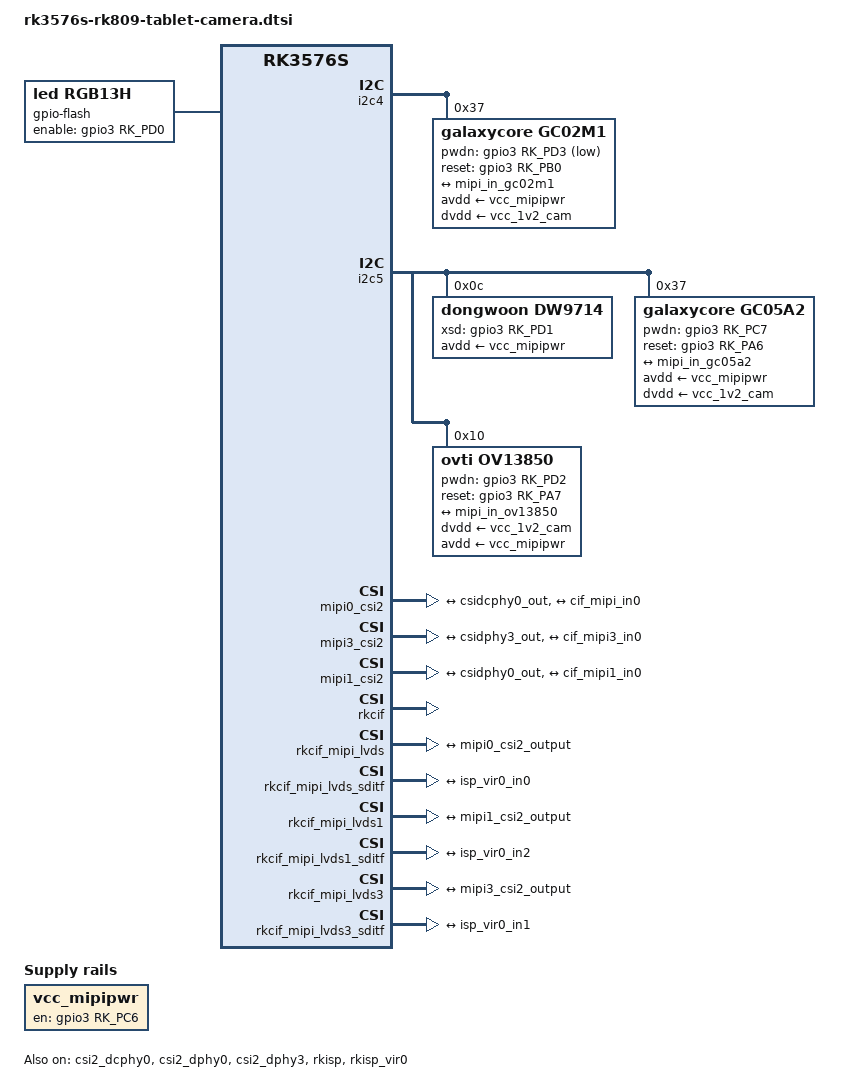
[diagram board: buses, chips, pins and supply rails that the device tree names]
// SPDX-License-Identifier: (GPL-2.0+ OR MIT)
/*
 * Copyright (c) 2024 Rockchip Electronics Co., Ltd.
 *
 */
/ {
	flash_rgb13h: flash-rgb13h {
		status = "okay";
		compatible = "led,rgb13h";
		label = "gpio-flash";
		pinctrl-names = "default";
		pinctrl-0 = <&flash_led_gpios>;
		led-max-microamp = <20000>;
		flash-max-microamp = <20000>;
		flash-max-timeout-us = <1000000>;
		enable-gpio = <&gpio3 RK_PD0 GPIO_ACTIVE_HIGH>;
		//mode-gpio = <&gpio2 RK_PC3 GPIO_ACTIVE_HIGH>; //EN
		rockchip,camera-module-index = <0>;
		rockchip,camera-module-facing = "back";
	};

	vcc_mipipwr: vcc-mipipwr-regulator {
		compatible = "regulator-fixed";
		gpio = <&gpio3 RK_PC6 GPIO_ACTIVE_HIGH>;
		pinctrl-names = "default";
		pinctrl-0 = <&mipicam_pwr>;
		regulator-name = "vcc_mipipwr";
		enable-active-high;
		regulator-boot-on;
	};
};

&csi2_dcphy0 {
	status = "okay";

	ports {
		#address-cells = <1>;
		#size-cells = <0>;
		port@0 {
			reg = <0>;
			#address-cells = <1>;
			#size-cells = <0>;

			mipi_in_gc05a2: endpoint@1 {
				reg = <1>;
				remote-endpoint = <&gc05a2_out0>;
				data-lanes = <1 2 3 4>;
			};

		};
		port@1 {
			reg = <1>;
			#address-cells = <1>;
			#size-cells = <0>;

			csidcphy0_out: endpoint@0 {
				reg = <0>;
				remote-endpoint = <&mipi0_csi2_input>;
			};
		};
	};
};

&csi2_dphy0 {
	status = "okay";
	ports {
		#address-cells = <1>;
		#size-cells = <0>;
		port@0 {
			reg = <0>;
			#address-cells = <1>;
			#size-cells = <0>;

			mipi_in_gc02m1: endpoint@1 {
				reg = <1>;
				remote-endpoint = <&gc02m1_out>;
				data-lanes = <1>;
			};
		};
		port@1 {
			reg = <1>;
			#address-cells = <1>;
			#size-cells = <0>;

			csidphy0_out: endpoint@0 {
				reg = <0>;
				remote-endpoint = <&mipi1_csi2_input>;
			};
		};
	};
};

&csi2_dphy3 {
	status = "okay";

	ports {
		#address-cells = <1>;
		#size-cells = <0>;
		port@0 {
			reg = <0>;
			#address-cells = <1>;
			#size-cells = <0>;

			mipi_in_ov13850: endpoint@1 {
				reg = <1>;
				remote-endpoint = <&ov13850_out>;
				data-lanes = <1 2 3 4>;
			};
		};
		port@1 {
			reg = <1>;
			#address-cells = <1>;
			#size-cells = <0>;

			csidphy3_out: endpoint@0 {
				reg = <0>;
				remote-endpoint = <&mipi3_csi2_input>;
			};
		};
	};
};

&i2c4 {
	status = "okay";
	pinctrl-names = "default";
	pinctrl-0 = <&i2c4m3_xfer>;

	gc02m1: gc02m1@37 {
		status = "okay";
		compatible = "galaxycore,gc02m1";
		reg = <0x37>;
		clocks = <&cru CLK_MIPI_CAMERAOUT_M1>;
		clock-names = "xvclk";
		pinctrl-names = "default";
		pinctrl-0 = <&cam_clk1m0_clk1>;
		pwdn-gpios = <&gpio3 RK_PD3 GPIO_ACTIVE_LOW>;
		reset-gpios = <&gpio3 RK_PB0 GPIO_ACTIVE_HIGH>;
		avdd-supply = <&vcc_mipipwr>;
		//dovdd-supply = <&vcc_1v8_cam>;
		//dvdd-supply = <&vcc1v2_dvp>;
		dvdd-supply = <&vcc_1v2_cam>;
		rockchip,camera-module-index = <2>;
		rockchip,camera-module-facing = "back";
		rockchip,camera-module-name = "KYT-8789-V10";
		rockchip,camera-module-lens-name = "default";
		port {
			gc02m1_out: endpoint {
				remote-endpoint = <&mipi_in_gc02m1>;
				data-lanes = <1>;
			};
		};
	};
};

&i2c5 {
	status = "okay";
	pinctrl-names = "default";
	pinctrl-0 = <&i2c5m3_xfer>;

	dw9714: dw9714@c {
		compatible = "dongwoon,dw9714";
		status = "okay";
		reg = <0x0c>;
		rockchip,camera-module-index = <0>;
		rockchip,vcm-start-current = <5>;
		rockchip,vcm-rated-current = <65>;
		rockchip,vcm-step-mode = <5>;
		rockchip,camera-module-facing = "back";
		avdd-supply = <&vcc_mipipwr>;
		xsd-gpios = <&gpio3 RK_PD1 GPIO_ACTIVE_HIGH>;
	};

	gc05a2: gc05a2@37 {
		compatible = "galaxycore,gc05a2";
		status = "okay";
		reg = <0x37>;
		clocks = <&cru CLK_MIPI_CAMERAOUT_M0>;
		clock-names = "xvclk";
		pinctrl-names = "default";
		pinctrl-0 = <&cam_clk0m0_clk0>;
		pwdn-gpios = <&gpio3 RK_PC7 GPIO_ACTIVE_HIGH>;
		reset-gpios = <&gpio3 RK_PA6 GPIO_ACTIVE_HIGH>;
		avdd-supply = <&vcc_mipipwr>;
		//dovdd-supply = <&vcc_1v8_cam>;
		dvdd-supply = <&vcc_1v2_cam>;
		rockchip,camera-module-index = <1>;
		rockchip,camera-module-facing = "front";
		rockchip,camera-module-name = "KYT-11210-V2";
		rockchip,camera-module-lens-name = "default";
		port {
			gc05a2_out0: endpoint {
				remote-endpoint = <&mipi_in_gc05a2>;
				data-lanes = <1 2>;
			};
		};
	};

	ov13850: ov13850@10 {
		status = "okay";
		compatible = "ovti,ov13850";
		reg = <0x10>;
		clocks = <&cru CLK_MIPI_CAMERAOUT_M2>;
		clock-names = "xvclk";
		pinctrl-names = "default";
		pinctrl-0 = <&cam_clk2m0_clk2>;
		pwdn-gpios = <&gpio3 RK_PD2 GPIO_ACTIVE_HIGH>;
		reset-gpios = <&gpio3 RK_PA7 GPIO_ACTIVE_HIGH>;
		dvdd-supply = <&vcc_1v2_cam>;
		avdd-supply = <&vcc_mipipwr>;
		//dovdd-supply = <&vcc_1v8_cam>;
		rockchip,camera-module-index = <0>;
		rockchip,camera-module-facing = "back";
		rockchip,camera-module-name = "G1-T-B-s5k";
		rockchip,camera-module-lens-name = "XA-0806B";
		flash-leds = <&flash_rgb13h>;
		lens-focus = <&dw9714>;
		port {
			ov13850_out: endpoint {
				remote-endpoint = <&mipi_in_ov13850>;
				data-lanes = <1 2 3 4>;
			};
		};
	};
};

&mipi0_csi2 {
	status = "okay";

	ports {
		#address-cells = <1>;
		#size-cells = <0>;

		port@0 {
			reg = <0>;
			#address-cells = <1>;
			#size-cells = <0>;

			mipi0_csi2_input: endpoint@1 {
				reg = <1>;
				remote-endpoint = <&csidcphy0_out>;
			};
		};

		port@1 {
			reg = <1>;
			#address-cells = <1>;
			#size-cells = <0>;

			mipi0_csi2_output: endpoint@0 {
				reg = <0>;
				remote-endpoint = <&cif_mipi_in0>;
			};
		};
	};
};

&mipi3_csi2 {
	status = "okay";

	ports {
		#address-cells = <1>;
		#size-cells = <0>;

		port@0 {
			reg = <0>;
			#address-cells = <1>;
			#size-cells = <0>;

			mipi3_csi2_input: endpoint@1 {
				reg = <1>;
				remote-endpoint = <&csidphy3_out>;
			};
		};

		port@1 {
			reg = <1>;
			#address-cells = <1>;
			#size-cells = <0>;

			mipi3_csi2_output: endpoint@0 {
				reg = <0>;
				remote-endpoint = <&cif_mipi3_in0>;
			};
		};
	};
};


&mipi1_csi2 {
	status = "okay";

	ports {
		#address-cells = <1>;
		#size-cells = <0>;

		port@0 {
			reg = <0>;
			#address-cells = <1>;
			#size-cells = <0>;

			mipi1_csi2_input: endpoint@1 {
				reg = <1>;
				remote-endpoint = <&csidphy0_out>;
			};
		};

		port@1 {
			reg = <1>;
			#address-cells = <1>;
			#size-cells = <0>;

			mipi1_csi2_output: endpoint@0 {
				reg = <0>;
				remote-endpoint = <&cif_mipi1_in0>;
			};
		};
	};
};

&pinctrl {
	cam {
		mipicam_pwr: mipicam-pwr {
			rockchip,pins =
				/* camera power en */
				<3 RK_PC6 RK_FUNC_GPIO &pcfg_pull_none>;
		};

		flash_led_gpios: flash-led {
			rockchip,pins =
				/* flash led enable */
				<3 RK_PD0 RK_FUNC_GPIO &pcfg_pull_none>;
		};
	};
};

&rkcif {
	status = "okay";
};

&rkcif_mipi_lvds {
	status = "okay";

	port {
		cif_mipi_in0: endpoint {
			remote-endpoint = <&mipi0_csi2_output>;
		};
	};
};

&rkcif_mipi_lvds_sditf {
	status = "okay";

	port {
		mipi_lvds_sditf: endpoint {
			remote-endpoint = <&isp_vir0_in0>;
		};
	};
};

&rkcif_mipi_lvds1 {
	status = "okay";

	port {
		cif_mipi1_in0: endpoint {
			remote-endpoint = <&mipi1_csi2_output>;
		};
	};
};

&rkcif_mipi_lvds1_sditf {
	status = "okay";

	port {
		mipi_lvds1_sditf: endpoint {
			remote-endpoint = <&isp_vir0_in2>;
		};
	};
};

&rkcif_mipi_lvds3 {
	status = "okay";

	port {
		cif_mipi3_in0: endpoint {
			remote-endpoint = <&mipi3_csi2_output>;
		};
	};
};

&rkcif_mipi_lvds3_sditf {
	status = "okay";

	port {
		mipi_lvds3_sditf: endpoint {
			remote-endpoint = <&isp_vir0_in1>;
		};
	};
};

&rkcif_mmu {
	status = "okay";
};

&rkisp {
	status = "okay";
};

&rkisp_mmu {
	status = "okay";
};

&rkisp_vir0 {
	status = "okay";

	port {
		#address-cells = <1>;
		#size-cells = <0>;

		isp_vir0_in0: endpoint@0 {
			reg = <0>;
			remote-endpoint = <&mipi_lvds_sditf>;
		};

		isp_vir0_in1: endpoint@1 {
			reg = <1>;
			remote-endpoint = <&mipi_lvds3_sditf>;
		};

		isp_vir0_in2: endpoint@2 {
			reg = <2>;
			remote-endpoint = <&mipi_lvds1_sditf>;
		};
	};
};
